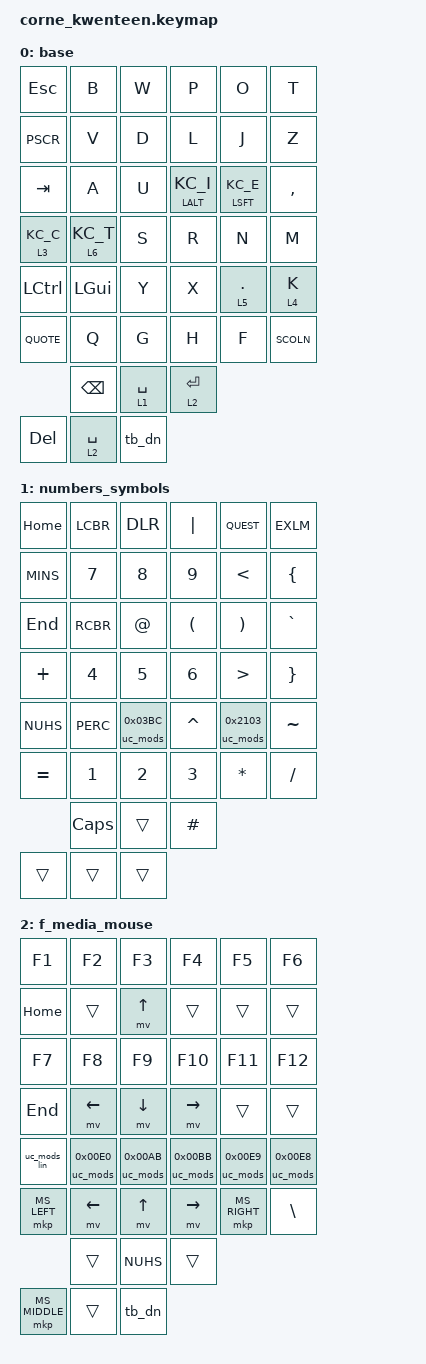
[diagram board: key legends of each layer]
#include <dt-bindings/zmk/keys.h>
#include <dt-bindings/zmk/bt.h>
#include <dt-bindings/zmk/outputs.h>
#include <dt-bindings/zmk/mods.h>
#include <dt-bindings/zmk/pointing.h>

/ {
    keymap {
        compatible = "zmk,keymap";

        base {
            bindings = <
                // Left half unchanged
                &kp ESC        &kp B          &kp W          &kp P        &kp O        &kp T
                &kp PSCR      &kp V          &kp D          &kp L        &kp J        &kp Z

                &kp TAB       &kp A          &kp U          &lt LALT KC_I  &lt LSFT KC_E &kp COMMA
                &lt 3 KC_C    &lt 6 KC_T     &kp S          &kp R        &kp N        &kp M

                &kp LCTL      &kp LGUI       &kp Y          &kp X        &lt 5 DOT     &lt 4 K
                &kp QUOTE     &kp Q          &kp G          &kp H        &kp F        &kp SCOLN

                                 &kp BSPC       &lt 1 SPACE    &lt 2 ENTER
                &kp DEL       &lt 2 SPACE     &tb_dn         // Trackball down replaces LSFT
            >;
        };

        // Other layers unchanged, except layer 2 (f_media_mouse) for trackball consistency
        numbers_symbols {
            bindings = <
                &kp HOME       &kp LCBR       &kp DLR        &kp PIPE     &kp QUEST    &kp EXLM
                &kp MINS       &kp N7         &kp N8         &kp N9       &kp LT       &kp LBRC

                &kp END        &kp RCBR       &kp AT         &kp LPRN     &kp RPRN     &kp GRAVE
                &kp PLUS       &kp N4         &kp N5         &kp N6       &kp GT       &kp RBRC

                &kp NUHS       &kp PERC       &uc_mods 0x03BC &kp CARET    &uc_mods 0x2103 &kp TILDE
                &kp EQUAL      &kp N1         &kp N2         &kp N3       &kp ASTRK    &kp SLASH

                                 &kp CAPS       &trans        &kp HASH
                &trans         &trans         &trans
            >;
        };

        f_media_mouse {
            bindings = <
                &kp F1         &kp F2         &kp F3         &kp F4       &kp F5       &kp F6
                &kp HOME       &trans         &mv UP         &trans       &trans       &trans

                &kp F7         &kp F8         &kp F9         &kp F10      &kp F11      &kp F12
                &kp END        &mv LEFT       &mv DOWN       &mv RIGHT    &trans       &trans

                &uc_mods_lin   &uc_mods 0x00E0 &uc_mods 0x00AB &uc_mods 0x00BB &uc_mods 0x00E9 &uc_mods 0x00E8
                &mkp MS_LEFT   &mv LEFT       &mv UP         &mv RIGHT    &mkp MS_RIGHT &kp BACKSLASH

                                 &trans         &kp NUHS      &trans
                &mkp MS_MIDDLE &trans         &tb_dn
            >;
        };

        // Layers 3-6 unchanged (rgb, media, rgb_extra, accents)
        rgb { /* same as before */ };
        media { /* same as before */ };
        rgb_extra { /* same as before */ };
        accents { /* same as before */ };
    };
};

